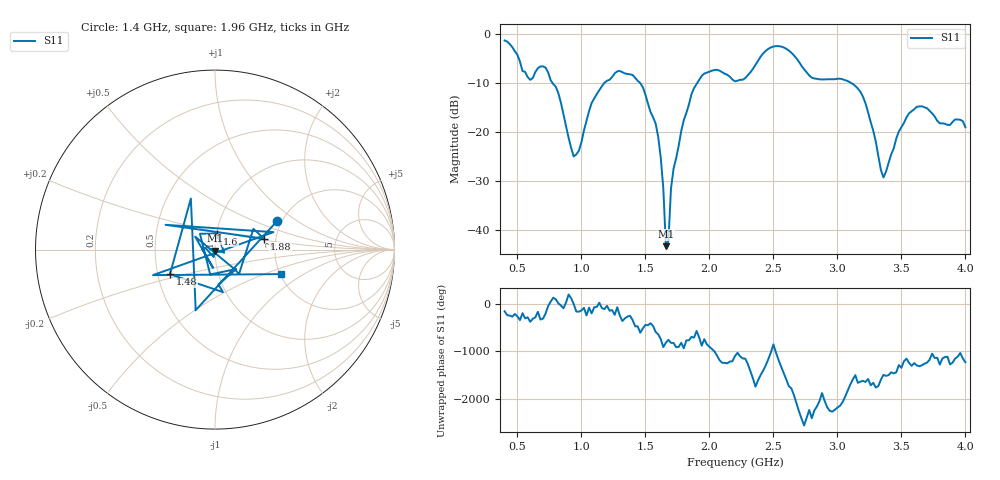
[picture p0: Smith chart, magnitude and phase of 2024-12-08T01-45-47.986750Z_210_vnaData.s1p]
!Created with skrf (http://scikit-rf.org).
# Hz S RI R 50.0
!freq ReS11 ImS11
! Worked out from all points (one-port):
!   181 points, 400 MHz to 4 GHz, reference 50 ohm
!   lowest |S11| = -43.3 dB at 1.66 GHz (marker M1), VSWR 1.01, Z = 49.9 - j0.682 ohm
!   |S11| at or under -10 dB: 774.1 MHz to 1.179 GHz (404.9 MHz wide, 41.5 % of centre); 1.458 GHz to 1.905 GHz (446.8 MHz wide, 26.6 % of centre); 3.107 GHz to end of sweep
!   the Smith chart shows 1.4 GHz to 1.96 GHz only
!   S11 on the Smith chart (normalised r, x): 1.4 GHz: 1.89, +0.70; 1.48 GHz: 0.58, -0.17; 1.6 GHz: 1.01, +0.18; 1.88 GHz: 1.73, +0.23; 1.96 GHz: 2.03, -0.66
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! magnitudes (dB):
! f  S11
! 400 MHz  -1.3
! 600 MHz  -9.4
! 720 MHz  -6.9
! 860 MHz  -16.4
! 940 MHz  -25.0
! 980 MHz  -23.8
! 1.08 GHz  -14.1
! 1.3 GHz  -7.6
! 1.4 GHz  -8.4
! 1.48 GHz  -10.9
! 1.6 GHz  -21.0
! 1.64 GHz  -31.5
! 1.66 GHz  -43.3
! 1.68 GHz  -42.2
! 1.7 GHz  -31.5
! 1.76 GHz  -22.8
! 1.88 GHz  -11.0
! 1.96 GHz  -8.1
! 2.2 GHz  -9.7
! 2.48 GHz  -2.8
! 2.66 GHz  -4.4
! 2.8 GHz  -8.9
! 3.1 GHz  -9.9
! 3.22 GHz  -14.2
! 3.36 GHz  -29.3
! 3.56 GHz  -16.2
! 3.66 GHz  -14.8
! 4 GHz  -19.0
